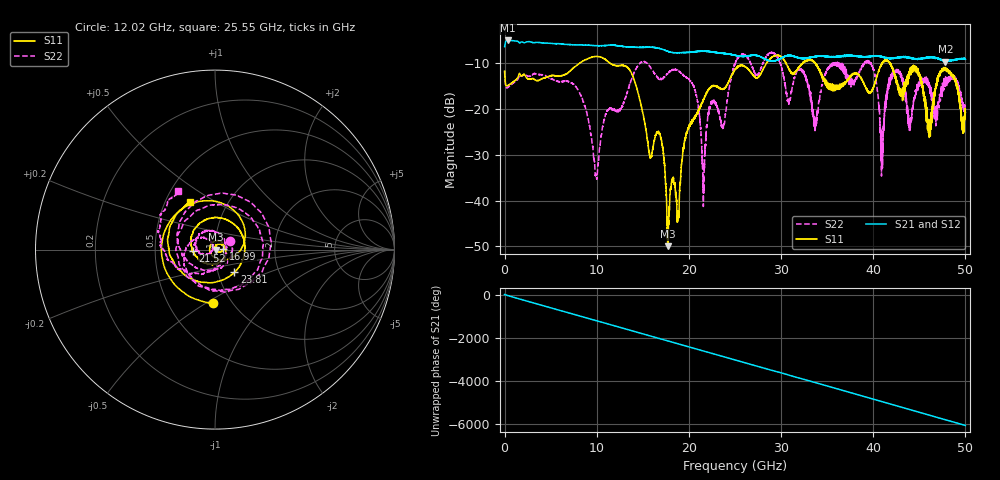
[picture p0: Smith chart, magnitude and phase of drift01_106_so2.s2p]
!Created with skrf (http://scikit-rf.org).
# Hz S RI R 50.0
!freq ReS11 ImS11 ReS21 ImS21 ReS12 ImS12 ReS22 ImS22
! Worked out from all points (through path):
!   10001 points, 300 kHz to 50 GHz, reference 50 ohm
!   highest |S21| = -5.05 dB at 395.3 MHz (marker M1); lowest = -9.7 dB at 47.83 GHz (marker M2)
!   group delay of S21, straight-line fit = 336 ps
!   lowest |S11| = -50.0 dB at 17.7 GHz (marker M3), VSWR 1.01, Z = 50.3 - j0.0684 ohm
!   |S11| at or under -10 dB: start of sweep to 8.154 GHz; 11.43 GHz to 28.42 GHz (16.99 GHz wide, 85.3 % of centre); 41.81 GHz to end of sweep (the widest 3 of 12)
!   |S22| runs from -41.3 to -7.6 dB; largest |S21 - S12| = 0.015
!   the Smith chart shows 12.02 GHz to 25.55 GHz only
!   S11 on the Smith chart (normalised r, x): 12.02 GHz: 0.82, -0.54; 16.99 GHz: 1.10, +0.00; 21.52 GHz: 0.78, -0.01; 23.81 GHz: 1.20, -0.31; 25.55 GHz: 0.67, +0.39
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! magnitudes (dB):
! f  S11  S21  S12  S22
! 300 kHz  -11.7  -6.4  -6.5  -11.8
! 395.3 MHz  -14.8  -5.1  -5.1  -15.2
! 8.335 GHz  -9.8  -6.0  -6.0  -17.5
! 9.94 GHz  -8.5  -6.2  -6.2  -34.5
! 12.02 GHz  -10.5  -6.1  -6.1  -20.4
! 16.67 GHz  -24.9  -6.7  -6.7  -13.4
! 16.99 GHz  -26.6  -6.9  -6.9  -13.5
! 17.7 GHz  -50.0  -7.4  -7.4  -12.2
! 20.52 GHz  -22.1  -7.6  -7.5  -15.1
! 21.52 GHz  -18.2  -7.4  -7.4  -34.8
! 22.45 GHz  -15.1  -7.5  -7.5  -19.0
! 23.81 GHz  -15.6  -7.9  -7.9  -23.2
! 25 GHz  -11.4  -8.3  -8.3  -10.3
! 25.55 GHz  -10.6  -8.5  -8.5  -8.3
! 33.34 GHz  -9.4  -8.7  -8.7  -19.3
! 39.49 GHz  -16.4  -8.6  -8.6  -9.9
! 40.95 GHz  -10.2  -8.6  -8.6  -30.4
! 41.67 GHz  -9.6  -8.8  -8.9  -14.3
! 44.76 GHz  -11.3  -9.1  -9.0  -15.1
! 46.11 GHz  -23.1  -8.7  -8.8  -14.8
! 47.83 GHz  -11.2  -9.7  -9.6  -14.0
! 50 GHz  -20.7  -9.2  -9.2  -20.2
